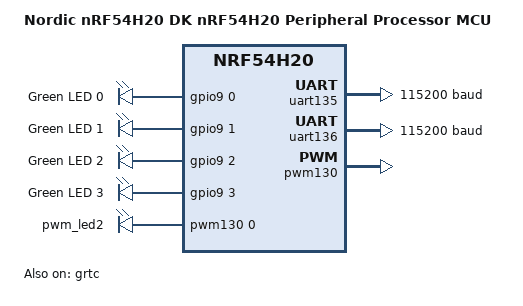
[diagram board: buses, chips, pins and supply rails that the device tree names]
/*
 * Copyright (c) 2024 Nordic Semiconductor ASA
 *
 * SPDX-License-Identifier: Apache-2.0
 */

/dts-v1/;

#include <nordic/nrf54h20_cpuppr.dtsi>
#include "nrf54h20dk_nrf54h20-common.dtsi"

/delete-node/ &cpuapp_cpurad_ipc;
/delete-node/ &cpuapp_cpusys_ipc;
/delete-node/ &cpuapp_cpuflpr_ipc;
/delete-node/ &cpurad_cpusys_ipc;
/delete-node/ &cpusec_cpuapp_ipc;
/delete-node/ &cpusec_cpurad_ipc;

/ {
	compatible = "nordic,nrf54h20dk_nrf54h20-cpuppr";
	model = "Nordic nRF54H20 DK nRF54H20 Peripheral Processor MCU";
	#address-cells = <1>;
	#size-cells = <1>;

	chosen {
		zephyr,console = &uart135;
		zephyr,code-partition = &cpuppr_code_partition;
		zephyr,flash = &mram1x;
		zephyr,sram = &cpuppr_code_data;
		zephyr,shell-uart = &uart135;
	};

	leds {
		compatible = "gpio-leds";

		led0: led_0 {
			gpios = <&gpio9 0 GPIO_ACTIVE_HIGH>;
			label = "Green LED 0";
		};

		led1: led_1 {
			gpios = <&gpio9 1 GPIO_ACTIVE_HIGH>;
			label = "Green LED 1";
		};

		led2: led_2 {
			gpios = <&gpio9 2 GPIO_ACTIVE_HIGH>;
			label = "Green LED 2";
		};

		led3: led_3 {
			gpios = <&gpio9 3 GPIO_ACTIVE_HIGH>;
			label = "Green LED 3";
		};
	};

	pwmleds {
		compatible = "pwm-leds";
		/*
		 * LEDs are connected to GPIO Port 9 - pins 0-3. There is no valid hardware
		 * configuration to pass PWM signal on pis 0 and 1. First valid config is P9.2.
		 * Signal on PWM130's channel 0 can be passed directly on GPIO Port 9 pin 2.
		 */
		pwm_led2: pwm_led_2 {
			pwms = <&pwm130 0 PWM_MSEC(20) PWM_POLARITY_NORMAL>;
		};
	};

	aliases {
		led0 = &led0;
		led1 = &led1;
		led2 = &led2;
		led3 = &led3;
		pwm-led0 = &pwm_led2;
	};
};

&cpuapp_cpuppr_ipc {
	mbox-names = "tx", "rx";
	tx-region = <&cpuppr_cpuapp_ipc_shm>;
	rx-region = <&cpuapp_cpuppr_ipc_shm>;
};

&grtc {
	status = "okay";
	owned-channels = <5>;
};

&uart135 {
	status = "okay";
	current-speed = <115200>;
	pinctrl-0 = <&uart135_default>;
	pinctrl-1 = <&uart135_sleep>;
	pinctrl-names = "default", "sleep";
};

&uart136 {
	current-speed = <115200>;
	pinctrl-0 = <&uart136_default>;
	pinctrl-1 = <&uart136_sleep>;
	pinctrl-names = "default", "sleep";
};

&pwm130 {
	status = "okay";
	pinctrl-0 = <&pwm130_default>;
	pinctrl-1 = <&pwm130_sleep>;
	pinctrl-names = "default", "sleep";
};
